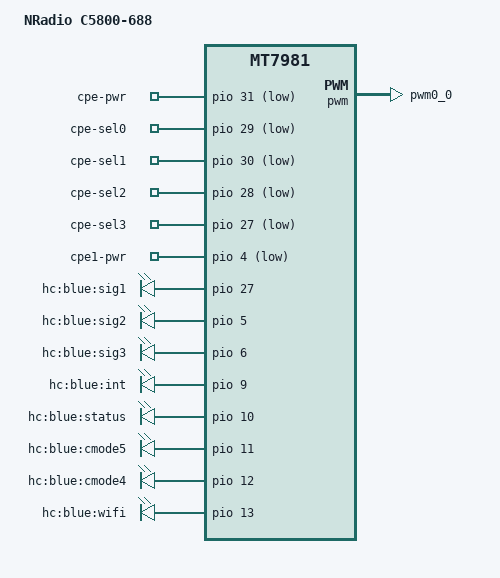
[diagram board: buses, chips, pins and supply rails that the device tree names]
/dts-v1/;

#include "mt7981-nradio-emmc.dtsi"

/ {
	compatible = "nradio,c5800", "HCMT7981-emmc", "mediatek,mt7981";
	model = "NRadio C5800-688";
	
	aliases {
		led-boot = &led_status;
		led-failsafe = &led_status;
		led-running = &led_status;
		led-upgrade = &led_status;
	};

	gpio_export {
		compatible = "gpio-export";
		#size-cells = <0>;

		cpepower {
			gpio-export,name = "cpe-pwr";
			gpio-export,output = <0>;
			gpios = <&pio 31 GPIO_ACTIVE_LOW>;
		};

		cpesel0 {
			gpio-export,name = "cpe-sel0";
			gpio-export,output = <1>;
			gpios = <&pio 29 GPIO_ACTIVE_LOW>;
		};

		cpesel1 {
			gpio-export,name = "cpe-sel1";
			gpio-export,output = <1>;
			gpios = <&pio 30 GPIO_ACTIVE_LOW>;
		};

		cpesel2 {
			gpio-export,name = "cpe-sel2";
			gpio-export,output = <1>;
			gpios = <&pio 28 GPIO_ACTIVE_LOW>;
		};

		cpesel3 {
			gpio-export,name = "cpe-sel3";
			gpio-export,output = <1>;
			gpios = <&pio 27 GPIO_ACTIVE_LOW>;
		};

		cpe1power {
			gpio-export,name = "cpe1-pwr";
			gpio-export,output = <0>;
			gpios = <&pio 4 GPIO_ACTIVE_LOW>;
		};
	};

	gpio-leds {
		compatible = "gpio-leds";

		led_sig1: sig1 {
			label = "hc:blue:sig1";
			gpios = <&pio 27 GPIO_ACTIVE_HIGH>;
			default-state = "on";
		};

		led_sig2: sig2 {
			label = "hc:blue:sig2";
			gpios = <&pio 5 GPIO_ACTIVE_HIGH>;
			default-state = "on";
		};

		led_sig3: sig3 {
			label = "hc:blue:sig3";
			gpios = <&pio 6 GPIO_ACTIVE_HIGH>;
			default-state = "on";
		};

		led_int: int {
			label = "hc:blue:int";
			gpios = <&pio 9 GPIO_ACTIVE_HIGH>;
			default-state = "on";
		};

		led_status: status {
			label = "hc:blue:status";
			gpios = <&pio 10 GPIO_ACTIVE_HIGH>;
			default-state = "on";
		};

		led_cmode5: cmode5 {
			label = "hc:blue:cmode5";
			gpios = <&pio 11 GPIO_ACTIVE_HIGH>;
			default-state = "on";
		};

		led_cmode4: cmode4 {
			label = "hc:blue:cmode4";
			gpios = <&pio 12 GPIO_ACTIVE_HIGH>;
			default-state = "on";
		};

		led_wifi: wifi {
			label = "hc:blue:wifi";
			gpios = <&pio 13 GPIO_ACTIVE_HIGH>;
			default-state = "on";
		};
	};
};

&pio {
	pwm0_pin: pwm0-pin-g0 {
		mux {
			function = "pwm";
			groups = "pwm0_0";
		};
	};
};

&pwm {
	pinctrl-names = "default";
	pinctrl-0 = <&pwm0_pin>;
	status = "okay";
};
